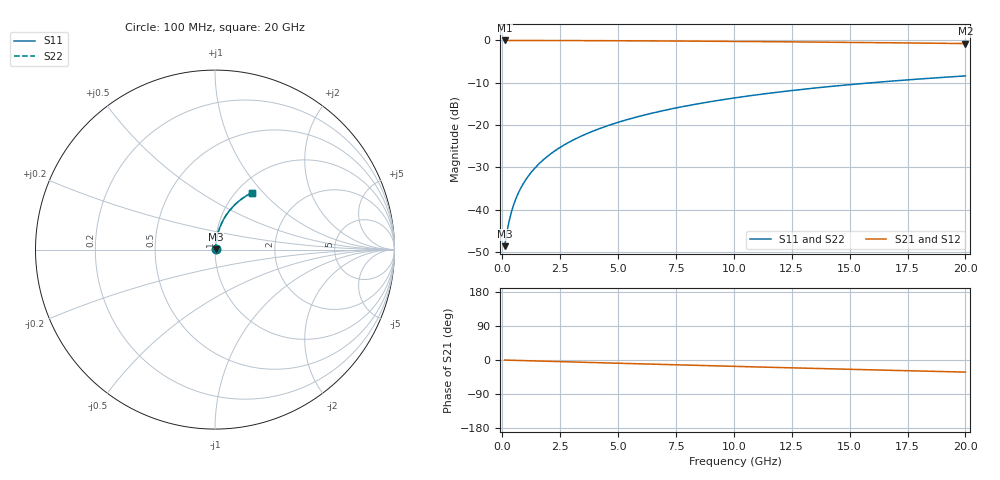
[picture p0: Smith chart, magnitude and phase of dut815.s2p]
! Touchstone file exported from HFSS 2026.1.0
!  File:  C:/ffzhzh/LocalFiles/Ansys_Project_Files/temp_train_BSMRDL_815_1783169958_43440.aedt
!  Generated:  09:00:30 PM Jul  4, 2026
!  Design:  BSMRDL
!  Project:  temp_train_BSMRDL_815_1783169958_43440
! Variables:
!  h_bsmrdl = 3.11um
!  h_ox = 20um
!  h_rdl = 5um
!  h_sub = 80um
!  h_tmrdl = 5um
!  h_tsv = 80um
!  h_via = 3um
!  l_bsmrdl = 373.77um
!  l_sub = 773.77um
!  l_tmrdl = 200um
!  m_sub = 200um
!  pitch = 55.6um
!  r_tsv = 6um
!  s_tmrdl = 10um
!  w_bsmrdl = 15.53um
!  w_sub = 500um
!  w_tmrdl = 12um
!  x_tsv_center1 = 206um
!  x_tsv_center2 = 595.3um
!  x_tsv_center3 = 807.3um
!  x_tsv_center4 = 1196.6um
!  x_tsv_center5 = 1408.6um
!  x_tsv_center6 = 1797.9um
# GHz S MA R 50.000000
! Terminal data exported
! Port[1] = BSM_RDL1_1_T1
! Port[2] = BSM_RDL1_1_T2
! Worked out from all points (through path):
!   200 points, 100 MHz to 20 GHz, reference 50 ohm
!   highest |S21| = -0.03 dB at 100 MHz (marker M1); lowest = -0.8 dB at 20 GHz (marker M2)
!   group delay of S21, straight-line fit = 4.44 ps
!   lowest |S11| = -48.7 dB at 100 MHz (marker M3), VSWR 1.01, Z = 50.3 + j0.228 ohm
!   |S11| at or under -10 dB: start of sweep to 15.99 GHz
!   |S22| runs from -48.7 to -8.4 dB; largest |S21 - S12| = 4.4e-15
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0.1  0.003693 37.9  0.9971 -0.2  0.9971 -0.2  0.003693 37.9
! Gamma 0 0 0 0
! Port Impedance 50 0 50 0
0.2  0.005415 56.5  0.997 -0.4  0.997 -0.4  0.005415 56.5
0.3  0.007413 65.4  0.997 -0.5  0.997 -0.5  0.007413 65.4
0.4  0.009494 70.3  0.9969 -0.7  0.9969 -0.7  0.009494 70.3
0.5  0.0116 73.3  0.9968 -0.9  0.9968 -0.9  0.0116 73.3
0.6  0.01372 75.3  0.9967 -1.0  0.9967 -1.0  0.01372 75.3
0.8  0.01796 78.0  0.9965 -1.4  0.9965 -1.4  0.01796 78.0
1.1  0.02436 80.0  0.9963 -1.9  0.9963 -1.9  0.02436 80.0
1.5  0.03292 81.3  0.9959 -2.6  0.9959 -2.6  0.03292 81.3
1.8  0.03935 81.7  0.9957 -3.1  0.9957 -3.1  0.03935 81.7
2.1  0.04579 81.8  0.9953 -3.6  0.9953 -3.6  0.04579 81.8
2.7  0.05865 81.7  0.9945 -4.6  0.9945 -4.6  0.05865 81.7
3.5  0.07572 81.0  0.9931 -6.0  0.9931 -6.0  0.07572 81.0
4.2  0.09057 80.2  0.9917 -7.2  0.9917 -7.2  0.09057 80.2
5  0.1074 79.1  0.9898 -8.5  0.9898 -8.5  0.1074 79.1
5.9  0.1261 77.8  0.9872 -10.0  0.9872 -10.0  0.1261 77.8
6.8  0.1446 76.4  0.9844 -11.5  0.9844 -11.5  0.1446 76.4
8.3  0.1749 74.1  0.9789 -14.0  0.9789 -14.0  0.1749 74.1
10.1  0.2101 71.3  0.9714 -16.9  0.9714 -16.9  0.2101 71.4
13.4  0.2714 66.3  0.9551 -22.1  0.9551 -22.1  0.2714 66.3
16.7  0.3281 61.4  0.9365 -27.1  0.9365 -27.1  0.3281 61.5
20  0.3799 56.7  0.9163 -31.9  0.9163 -31.9  0.3799 56.8
